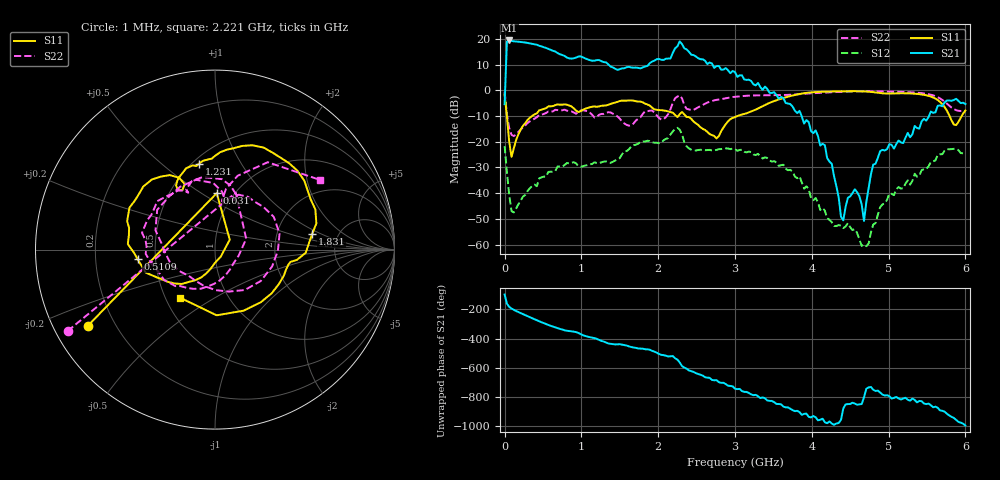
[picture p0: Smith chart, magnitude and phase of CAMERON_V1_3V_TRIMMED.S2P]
!Agilent Technologies,E5071C,MY46107443,A.09.30
!Date: Tue Apr 26 16:12:07 2016
!Data & Calibration Information:
!Freq	S11:SOLT2(ON)	S21:SOLT2(ON)	S12:SOLT2(ON)	S22:SOLT2(ON)
# Hz S dB R 50
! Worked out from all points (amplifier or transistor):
!   201 points, 1 MHz to 6 GHz, reference 50 ohm
!   highest |S21| = 19.4 dB at 60.99 MHz (marker M1)
!   |S21| within 3 dB of that: 27.85 MHz to 547.3 MHz (519.5 MHz wide, 181 % of centre)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
!   unconditionally stable (mu >= 1): 1.417 MHz to 1.889 GHz; 1.895 GHz to 2.102 GHz; 2.364 GHz to end of sweep
!   at 990.8 MHz: K = 2.37, MAG = 15.0 dB, |S12| = -29.8 dB
!   at 3.001 GHz: K = 1.34, MAG = 11.5 dB, |S12| = -22.9 dB
!   at 6 GHz: K = 11.42, MAG = -3.8 dB, |S12| = -24.8 dB
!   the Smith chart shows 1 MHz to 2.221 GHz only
!   S11 on the Smith chart (normalised r, x): 1 MHz: 0.10, -0.27; 31 MHz: 0.83, +0.58; 510.9 MHz: 0.40, -0.05; 1.231 GHz: 0.54, +0.67; 1.831 GHz: 3.21, +0.80; 2.221 GHz: 0.59, -0.36
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1000000  -1.65 -149.1  -5.41 -97.4  -21.71 27.1  -0.55 -151.1
3.0995e7  -10.05 88.2  18.93 -160.2  -31.79 -106.6  -9.44 70.0
6.099e7  -20.08 33.9  19.38 177.8  -40.80 -167.2  -14.70 19.2
2.70955e8  -12.76 -128.7  18.58 120.4  -40.69 50.4  -13.64 -100.6
5.10915e8  -7.23 -173.0  16.74 65.6  -33.60 17.5  -9.22 -162.0
6.6089e8  -5.77 162.1  15.09 35.8  -31.37 0.3  -7.59 167.1
1.02083e9  -7.57 121.3  12.82 -17.4  -29.54 -67.0  -7.75 99.8
1.230795e9  -6.26 100.7  11.77 -49.4  -28.33 -89.8  -9.55 66.7
1.830695e9  -5.22 9.1  9.26 -113.8  -19.94 -176.2  -8.16 145.5
2.010665e9  -7.71 -15.5  12.19 -146.1  -20.60 149.3  -10.77 79.5
2.16064e9  -8.50 -64.8  12.39 -162.1  -17.18 129.9  -7.33 73.0
2.22063e9  -9.60 -126.0  16.32 -176.0  -15.08 104.6  -3.09 33.7
2.28062e9  -9.30 132.5  19.02 155.3  -15.32 65.1  -2.02 -30.6
2.310615e9  -8.42 80.5  17.98 130.2  -17.12 46.1  -3.13 -72.4
2.4006e9  -10.42 17.7  14.99 100.4  -22.61 43.2  -7.43 -154.9
2.610565e9  -15.44 -11.1  11.51 53.7  -23.32 28.5  -5.23 109.8
3.0005e9  -10.44 7.1  7.11 -25.5  -22.86 -39.9  -2.53 24.7
3.42043e9  -5.31 -33.3  0.52 -106.4  -26.34 -124.9  -1.89 -41.3
4.02033e9  -0.75 -124.3  -16.67 147.0  -42.76 130.9  -1.12 -119.1
4.410265e9  -0.40 -179.5  -50.60 -161.7  -53.61 126.9  -0.53 -168.4
5.010165e9  -1.27 108.9  -20.95 -76.7  -40.15 -22.7  -0.50 121.4
6e9  -7.87 64.5  -5.34 81.6  -24.85 90.8  -8.19 40.9
